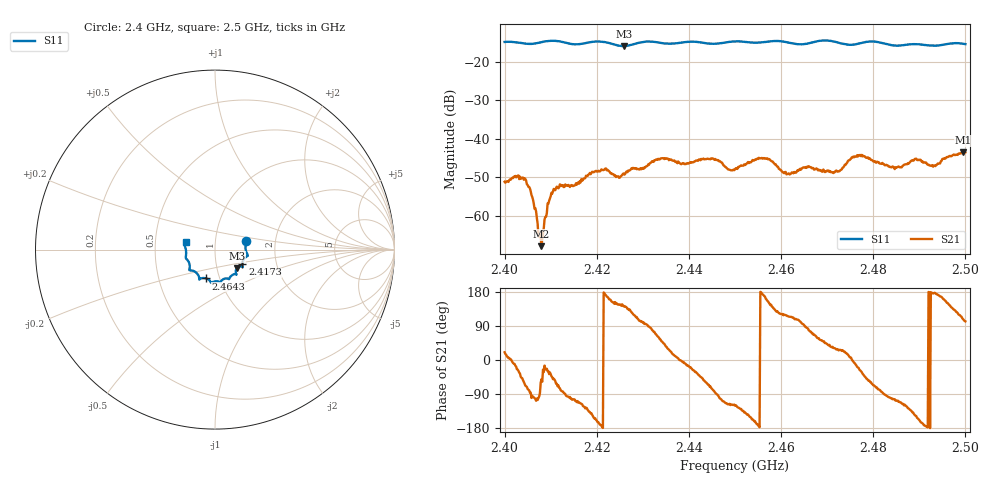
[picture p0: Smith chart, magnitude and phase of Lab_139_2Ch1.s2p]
# Hz S RI R 50
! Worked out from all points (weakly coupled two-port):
!   601 points, 2.4 GHz to 2.5 GHz, reference 50 ohm
!   highest |S21| = -43.47 dB at 2.4995 GHz (marker M1); lowest = -67.8 dB at 2.408 GHz (marker M2)
!   lowest |S11| = -16.0 dB at 2.4258 GHz (marker M3), VSWR 1.38, Z = 62.2 - j13.2 ohm
!   |S11| at or under -10 dB: start of sweep to end of sweep
!   S12 and S22 are empty: the file has one direction only
!   S11 on the Smith chart (normalised r, x): 2.4 GHz: 1.41, +0.15; 2.4173 GHz: 1.34, -0.23; 2.4643 GHz: 0.86, -0.28; 2.5 GHz: 0.72, +0.06
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2.4e9  0.1734 0.0497  0.00261 0.000969  0 0  0 0
2.4045e9  0.1704 0.0195  0.00115 -0.0028  0 0  0 0
2.405833e9  0.1701 0.00326  -0.000328 -0.00184  0 0  0 0
2.408e9  0.1781 -0.0209  0.000258 -0.000315  0 0  0 0
2.410667e9  0.1835 -0.034  0.00147 -0.0017  0 0  0 0
2.416667e9  0.153 -0.0747  -0.00131 -0.00271  0 0  0 0
2.417333e9  0.1524 -0.0822  -0.00172 -0.00255  0 0  0 0
2.4215e9  0.1532 -0.0952  -0.00395 0.000117  0 0  0 0
2.425833e9  0.1213 -0.1034  -0.0028 0.00221  0 0  0 0
2.433333e9  0.113 -0.1369  0.00269 0.00482  0 0  0 0
2.445333e9  0.0528 -0.1623  0.000898 -0.00543  0 0  0 0
2.45e9  0.0298 -0.181  -0.00204 -0.00346  0 0  0 0
2.455667e9  -0.0042 -0.1778  -0.00562 0.000118  0 0  0 0
2.461e9  -0.0261 -0.1781  -0.00177 0.00328  0 0  0 0
2.464333e9  -0.05 -0.1604  -0.000624 0.00395  0 0  0 0
2.466667e9  -0.0762 -0.1599  0.0014 0.00392  0 0  0 0
2.472667e9  -0.0896 -0.1503  0.0034 0.00172  0 0  0 0
2.477e9  -0.1271 -0.1167  0.00554 -0.00264  0 0  0 0
2.483333e9  -0.1408 -0.0893  -0.000619 -0.00434  0 0  0 0
2.493167e9  -0.1607 -0.012  -0.00449 0.000268  0 0  0 0
2.4995e9  -0.1662 0.039  -0.00204 0.00639  0 0  0 0
2.5e9  -0.1636 0.0421  -0.00139 0.00655  0 0  0 0
